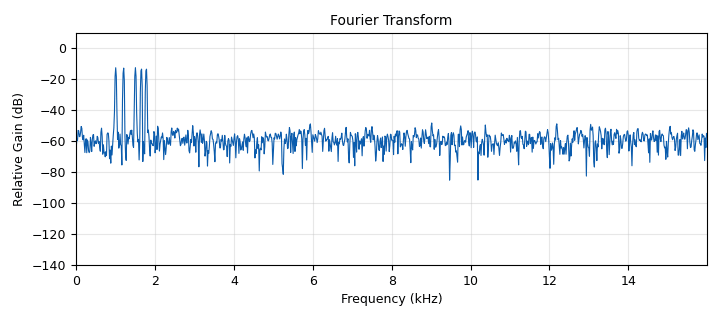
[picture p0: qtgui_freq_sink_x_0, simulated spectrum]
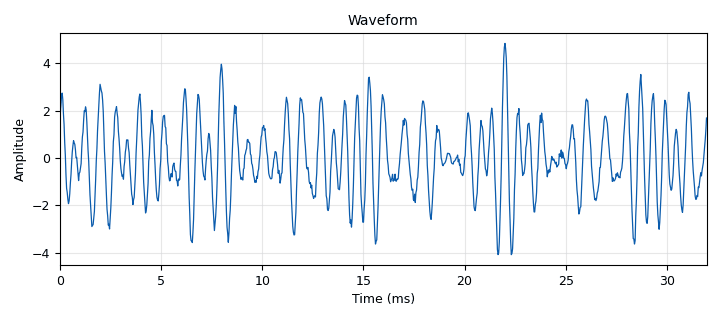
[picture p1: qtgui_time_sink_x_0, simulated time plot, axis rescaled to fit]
options:
  parameters:
    author: jtear
    generate_options: qt_gui
    id: Fourier_demo
    output_language: python
    title: Not titled yet
  states: {}

blocks:
- name: samp_rate
  id: variable
  parameters:
    value: '32000'
  states: {}
- name: analog_noise_source_x_0
  id: analog_noise_source_x
  parameters:
    amp: '0.1'
    noise_type: analog.GR_GAUSSIAN
    seed: '0'
    type: float
  states: {}
- name: analog_sig_source_x_0
  id: analog_sig_source_x
  parameters:
    amp: '1'
    freq: '1000'
    offset: '0'
    phase: '0'
    samp_rate: samp_rate
    type: float
    waveform: analog.GR_COS_WAVE
  states: {}
- name: analog_sig_source_x_1
  id: analog_sig_source_x
  parameters:
    amp: '1'
    freq: '1200'
    offset: '0'
    phase: '0'
    samp_rate: samp_rate
    type: float
    waveform: analog.GR_COS_WAVE
  states: {}
- name: analog_sig_source_x_2
  id: analog_sig_source_x
  parameters:
    amp: '1'
    freq: '1775'
    offset: '0'
    phase: '0'
    samp_rate: samp_rate
    type: float
    waveform: analog.GR_COS_WAVE
  states: {}
- name: analog_sig_source_x_3
  id: analog_sig_source_x
  parameters:
    amp: '1'
    freq: '1650'
    offset: '0'
    phase: '0'
    samp_rate: samp_rate
    type: float
    waveform: analog.GR_COS_WAVE
  states: {}
- name: analog_sig_source_x_4
  id: analog_sig_source_x
  parameters:
    amp: '1'
    freq: '1500'
    offset: '0'
    phase: '0'
    samp_rate: samp_rate
    type: float
    waveform: analog.GR_COS_WAVE
  states: {}
- name: blocks_add_xx_0
  id: blocks_add_xx
  parameters:
    num_inputs: '6'
    type: float
  states: {}
- name: blocks_throttle2_0
  id: blocks_throttle2
  parameters:
    samples_per_second: samp_rate
    type: float
  states: {}
- name: qtgui_freq_sink_x_0
  id: qtgui_freq_sink_x
  parameters:
    bw: samp_rate
    fc: '0'
    fftsize: '2048'
    freqhalf: 'False'
    name: '"Fourier Transform"'
    type: float
    wintype: window.WIN_KAISER
  states: {}
- name: qtgui_time_sink_x_0
  id: qtgui_time_sink_x
  parameters:
    name: '"Waveform"'
    size: '1024'
    srate: samp_rate
    type: float
  states: {}

connections:
- [analog_noise_source_x_0, '0', blocks_add_xx_0, '5']
- [analog_sig_source_x_0, '0', blocks_add_xx_0, '0']
- [analog_sig_source_x_1, '0', blocks_add_xx_0, '1']
- [analog_sig_source_x_2, '0', blocks_add_xx_0, '4']
- [analog_sig_source_x_3, '0', blocks_add_xx_0, '3']
- [analog_sig_source_x_4, '0', blocks_add_xx_0, '2']
- [blocks_add_xx_0, '0', blocks_throttle2_0, '0']
- [blocks_throttle2_0, '0', qtgui_freq_sink_x_0, '0']
- [blocks_throttle2_0, '0', qtgui_time_sink_x_0, '0']

metadata:
  file_format: 1
  grc_version: 3.10.9.2
